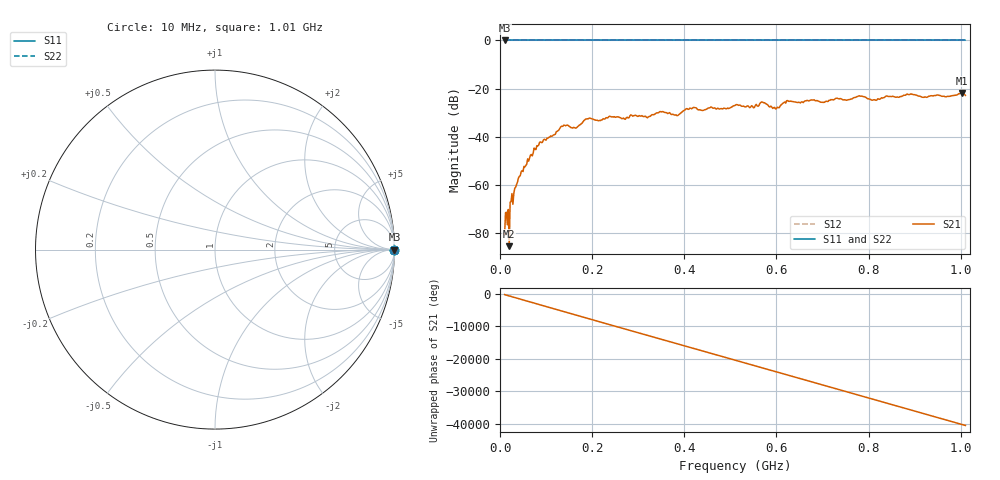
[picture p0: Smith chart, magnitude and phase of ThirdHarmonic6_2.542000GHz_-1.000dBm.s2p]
! 8/17/2025 5:08:32 AM
! C:\ANRITSUVNA\TEMP\TEMP.S2P
! CHANNEL.1
! TR.MEASUREMENT
! RAW.DATA
! RF.CORRECTION.OFF
! AVERAGING.OFF
! IF.BANDWIDTH: 5KHZ
! SWEEPTYPE:  FREQ.SWEEP(Linear)
! Reference Plane Port Info
! PORT:  PORT1  PORT2
! DISTANCE:  0  m  0  m
! TIME:  0  s  0  s
! PHASE.OFFSET:  0  deg.  0  deg.
! LOSS:  0  dB  0  dB
! REF.LOSS:  0  dB  0  dB
! REF.FREQ:  0  Hz  0  Hz
! Power Info
! POWER:  -20  dBm  -20  dBm
! EFF.POWER:  -20  dBm  -20  dBm
! SOURCE.ATTEN:  0  dB  0  dB
! TEST.ATTEN:  0  dB  0  dB
# GHZ S RI R 50.0
! FREQ.GHZ  S11RE  S11IM  S21RE  S21IM  S12RE  S12IM  S22RE  S22IM
!; PortSelection: Port_12
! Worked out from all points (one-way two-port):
!   501 points, 10 MHz to 1.01 GHz, reference 50 ohm
!   highest |S21| = -21.87 dB at 1.002 GHz (marker M1); lowest = -85.6 dB at 20 MHz (marker M2)
!   lowest |S11| = 0.0 dB at 10 MHz (marker M3)
!   |S11| at or under -10 dB: nowhere
!   |S22| runs from 0.0 to 0.0 dB; largest |S21 - S12| = 1.1
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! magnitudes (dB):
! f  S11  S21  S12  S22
! 10 MHz  0.0  -80.8  0.0  0.0
! 20 MHz  0.0  -85.6  0.0  0.0
! 26 MHz  0.0  -63.7  0.0  0.0
! 44 MHz  0.0  -56.3  0.0  0.0
! 84 MHz  0.0  -43.6  0.0  0.0
! 136 MHz  0.0  -35.7  0.0  0.0
! 162 MHz  0.0  -36.3  0.0  0.0
! 178 MHz  0.0  -34.4  0.0  0.0
! 192 MHz  0.0  -32.5  0.0  0.0
! 322 MHz  0.0  -31.8  0.0  0.0
! 344 MHz  0.0  -30.1  0.0  0.0
! 384 MHz  0.0  -31.3  0.0  0.0
! 416 MHz  0.0  -28.4  0.0  0.0
! 510 MHz  0.0  -27.0  0.0  0.0
! 548 MHz  0.0  -27.4  0.0  0.0
! 570 MHz  0.0  -25.7  0.0  0.0
! 596 MHz  0.0  -27.9  0.0  0.0
! 626 MHz  0.0  -25.3  0.0  0.0
! 678 MHz  0.0  -24.8  0.0  0.0
! 844 MHz  0.0  -23.3  0.0  0.0
! 1.002 GHz  0.0  -21.9  0.0  0.0
! 1.01 GHz  0.0  -22.8  0.0  0.0
